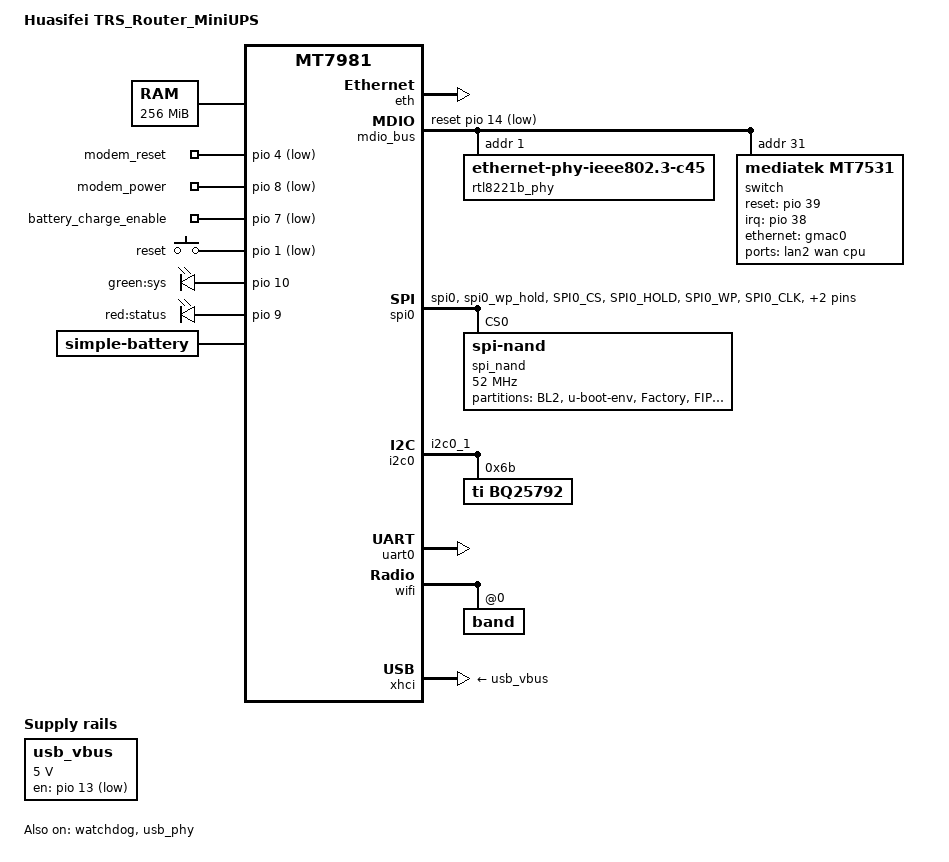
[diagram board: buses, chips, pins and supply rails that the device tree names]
// SPDX-License-Identifier: GPL-2.0-or-later OR MIT

/dts-v1/;
#include <dt-bindings/gpio/gpio.h>
#include <dt-bindings/input/input.h>
#include <dt-bindings/leds/common.h>
#include <dt-bindings/pinctrl/mt65xx.h>

#include "mt7981b.dtsi"

/ {
	model = "Huasifei TRS_Router_MiniUPS";
	compatible = "huasifei,trs-router-miniups", "mediatek,mt7981";

	aliases {
		serial0 = &uart0;
		led-boot = &led_sys;
		led-failsafe = &led_sys;
		led-running = &led_sys;
		led-upgrade = &led_sys;
	};

	chosen {
		stdout-path = "serial0:115200n8";
	};

	memory {
		reg = <0 0x40000000 0 0x10000000>;
		device_type = "memory";
	};

	gpio-export {
		compatible = "gpio-export";

		modem-reset {
			gpio-export,name = "modem_reset";
			gpio-export,output = <0>;
			gpios = <&pio 4 GPIO_ACTIVE_LOW>;
		};

		modem-power {
			gpio-export,name = "modem_power";
			gpio-export,output = <0>;
			gpios = <&pio 8 GPIO_ACTIVE_LOW>;
		};

		/* BQ25792 CE, active low. Note: gpio-export "output" is the RAW
		 * physical level on this kernel, while sysfs value is logical
		 * (ACTIVE_LOW inverted). Boot default: charging ON = pin LOW,
		 * so output=<0>; sysfs then reads 1 = charging, 0 = disabled. */
		battery-chg-enable {
			gpio-export,name = "battery_charge_enable";
			gpio-export,output = <0>;
			gpios = <&pio 7 GPIO_ACTIVE_LOW>;
		};
	};

	gpio-keys {
		compatible = "gpio-keys";

		reset {
			label = "reset";
			linux,code = <KEY_RESTART>;
			gpios = <&pio 1 GPIO_ACTIVE_LOW>;
		};
	};

	gpio-leds {
		compatible = "gpio-leds";

		led_sys: led-0 {
			label = "green:sys";
			gpios = <&pio 10 GPIO_ACTIVE_HIGH>;
		};

		led-1 {
			label = "red:status";
			gpios = <&pio 9 GPIO_ACTIVE_HIGH>;
		};
	};

	/* 3S 18650 pack. 6.18 power_supply_get_battery_info() only accepts the
	 * phandle form; a child node named "monitored-battery" is ignored. */
	bat: battery {
		compatible = "simple-battery";
		constant-charge-current-max-microamp = <1000000>;
		constant-charge-voltage-max-microvolt = <12600000>;
		precharge-current-microamp = <120000>;
		charge-term-current-microamp = <100000>; /* EVE 35V spec: 0.02C cut-off, 40mA reg step */
		voltage-min-design-microvolt = <7500000>; /* EVE 35V: 2.5V/cell discharge cut-off */
	};

	usb_vbus: regulator-usb {
		compatible = "regulator-fixed";
		regulator-name = "usb-vbus";
		regulator-min-microvolt = <5000000>;
		regulator-max-microvolt = <5000000>;
		gpios = <&pio 13 GPIO_ACTIVE_LOW>;
		regulator-boot-on;
	};
};

&eth {
	pinctrl-names = "default";
	pinctrl-0 = <&mdio_pins>;
	status = "okay";

	gmac0: mac@0 {
		compatible = "mediatek,eth-mac";
		reg = <0>;
		phy-mode = "2500base-x";
		nvmem-cells = <&macaddr_factory_4 1>;
		nvmem-cell-names = "mac-address";

		fixed-link {
			speed = <2500>;
			full-duplex;
			pause;
		};
	};

	gmac1: mac@1 {
		compatible = "mediatek,eth-mac";
		reg = <1>;
		phy-mode = "gmii";
		phy-handle = <&int_gbe_phy>;
		nvmem-cells = <&macaddr_factory_4 1>;
		nvmem-cell-names = "mac-address";
		label = "lan1";
	};
};

&mdio_bus {
	reset-gpios = <&pio 14 GPIO_ACTIVE_LOW>;
	reset-delay-us = <100000>;
	reset-post-delay-us = <100000>;

	rtl8221b_phy: ethernet-phy@1 {
		compatible = "ethernet-phy-ieee802.3-c45";
		reg = <1>;
		realtek,aldps-enable;
	};

	switch: switch@1f {
		compatible = "mediatek,mt7531";
		reg = <31>;
		reset-gpios = <&pio 39 GPIO_ACTIVE_HIGH>;
		interrupt-controller;
		#interrupt-cells = <1>;
		interrupt-parent = <&pio>;
		interrupts = <38 IRQ_TYPE_LEVEL_HIGH>;

		ports {
			#address-cells = <1>;
			#size-cells = <0>;

			port@1 {
				reg = <1>;
				label = "lan2";
				nvmem-cells = <&macaddr_factory_4 1>;
				nvmem-cell-names = "mac-address";
			};

			port@5 {
				reg = <5>;
				label = "wan";
				nvmem-cells = <&macaddr_factory_4 2>;
				nvmem-cell-names = "mac-address";
				phy-mode = "2500base-x";
				phy-handle = <&rtl8221b_phy>;
			};

			port@6 {
				reg = <6>;
				label = "cpu";
				ethernet = <&gmac0>;
				phy-mode = "2500base-x";

				fixed-link {
					speed = <2500>;
					full-duplex;
					pause;
				};
			};
		};
	};
};

&spi0 {
	pinctrl-names = "default";
	pinctrl-0 = <&spi0_flash_pins>;
	status = "okay";

	spi_nand: flash@0 {
		compatible = "spi-nand";
		reg = <0>;

		spi-max-frequency = <52000000>;
		spi-tx-buswidth = <4>;
		spi-rx-buswidth = <4>;

		mediatek,nmbm;
		mediatek,bmt-max-ratio = <1>;
		mediatek,bmt-max-reserved-blocks = <64>;

		partitions {
			compatible = "fixed-partitions";
			#address-cells = <1>;
			#size-cells = <1>;

			partition@0 {
				label = "BL2";
				reg = <0x0 0x100000>;
				read-only;
			};

			partition@100000 {
				label = "u-boot-env";
				reg = <0x100000 0x80000>;
			};

			partition@180000 {
				label = "Factory";
				reg = <0x180000 0x200000>;

				nvmem-layout {
					compatible = "fixed-layout";
					#address-cells = <1>;
					#size-cells = <1>;

					eeprom_factory_0: eeprom@0 {
						reg = <0x0 0x1000>;
					};

					macaddr_factory_4: macaddr@4 {
						compatible = "mac-base";
						reg = <0x4 0x6>;
						#nvmem-cell-cells = <1>;
					};
				};
			};

			partition@380000 {
				label = "FIP";
				reg = <0x380000 0x200000>;
				read-only;
			};

			partition@580000 {
				label = "ubi";
				reg = <0x580000 0xe280000>;
			};
		};
	};
};

&pio {
	spi0_flash_pins: spi0-pins {
		mux {
			function = "spi";
			groups = "spi0", "spi0_wp_hold";
		};

		conf-pu {
			pins = "SPI0_CS", "SPI0_HOLD", "SPI0_WP";
			drive-strength = <MTK_DRIVE_8mA>;
			bias-pull-up = <MTK_PUPD_SET_R1R0_11>;
		};

		conf-pd {
			pins = "SPI0_CLK", "SPI0_MOSI", "SPI0_MISO";
			drive-strength = <MTK_DRIVE_8mA>;
			bias-pull-down = <MTK_PUPD_SET_R1R0_11>;
		};
	};

	i2c_pins: i2c-pins {
		mux {
			function = "i2c";
			groups = "i2c0_1";
		};
	};

};

&i2c0 {
	pinctrl-names = "default";
	pinctrl-0 = <&i2c_pins>;
	status = "okay";

	bq25792: charger@6b {
		compatible = "ti,bq25792";
		reg = <0x6b>;
		monitored-battery = <&bat>;
		/* No NTC on the board: ignore the TS pin check (REG18 TS_IGNORE).
		 * Charging is gated manually via the CE pin (GPIO7, sysfs
		 * battery_charge_enable) based on battery presence. */
		ti,ts-ignore;
		/* 2A input limit: 9V PD = 18W, enough to sustain 1A fast charge.
		 * Chip max 3.3A; VINDPM backs off if the adapter sags. */
		input-current-limit-microamp = <2000000>;
	};
};

&uart0 {
	status = "okay";
};

&watchdog {
	status = "okay";
};

&wifi {
	status = "okay";
	nvmem-cells = <&eeprom_factory_0>;
	nvmem-cell-names = "eeprom";

	band@0 {
		reg = <0>;
		nvmem-cells = <&macaddr_factory_4 0>;
		nvmem-cell-names = "mac-address";
	};
};

&usb_phy {
	status = "okay";
};

&xhci {
	status = "okay";
	vbus-supply = <&usb_vbus>;
};
